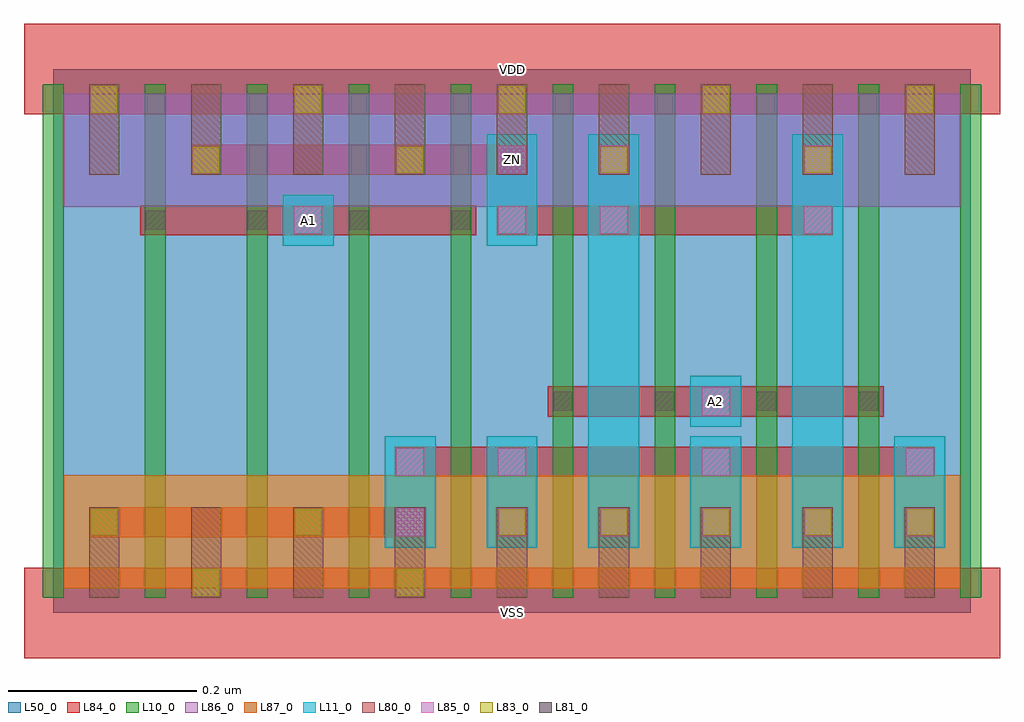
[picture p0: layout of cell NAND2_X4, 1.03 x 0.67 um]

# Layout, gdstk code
import gdstk
lib = gdstk.Library(unit=1e-6, precision=1e-09)
def R(c, l, rs):  # rectangles x0, y0, x1, y1
    for r in rs: c.add(gdstk.rectangle(r[:2], r[2:], *l))
def A(c, l, x, y, w, h, nx, ny, dx, dy):  # array of equal rectangles
    R(c, l, [(x+i*dx, y+j*dy, x+i*dx+w, y+j*dy+h) for i in range(nx) for j in range(ny)])
L10_0 = (10, 0)
L11_0 = (11, 0)
L50_0 = (50, 0)
L80_0 = (80, 0)
L81_0 = (81, 0)
L83_0 = (83, 0)
L84_0 = (84, 0)
L85_0 = (85, 0)
L86_0 = (86, 0)
L87_0 = (87, 0)

nand2_x4 = lib.new_cell('NAND2_X4')
A(nand2_x4, L10_0, -0.011, 0.016, 0.022, 0.544, 10, 1, 0.108, 0)
A(nand2_x4, L11_0, 0.459, 0.069, 0.054, 0.118, 3, 1, 0.216, 0)
R(nand2_x4, L11_0, [(0.351,0.069,0.405,0.187), (0.567,0.069,0.621,0.507), (0.783,0.069,0.837,0.507), (0.675,0.197,0.729,0.251), (0.243,0.389,0.297,0.443), (0.459,0.389,0.513,0.507)])
R(nand2_x4, L50_0, [(0,0,0.972,0.576)])
A(nand2_x4, L80_0, 0.038, 0.016, 0.032, 0.096, 9, 2, 0.108, 0.448)
A(nand2_x4, L81_0, 0.53, 0.214, 0.02, 0.02, 4, 1, 0.108, 0)
A(nand2_x4, L81_0, 0.098, 0.406, 0.02, 0.02, 4, 1, 0.108, 0)
A(nand2_x4, L83_0, 0.04, 0.082, 0.028, 0.028, 3, 1, 0.216, 0)
A(nand2_x4, L83_0, 0.58, 0.082, 0.028, 0.028, 4, 1, 0.108, 0)
A(nand2_x4, L83_0, 0.148, 0.466, 0.028, 0.028, 4, 1, 0.216, 0)
A(nand2_x4, L83_0, 0.04, 0.53, 0.028, 0.028, 5, 1, 0.216, 0)
R(nand2_x4, L83_0, [(0.148,0.018,0.176,0.046), (0.364,0.018,0.392,0.046)])
A(nand2_x4, L84_0, 0.47, 0.08, 0.032, 0.032, 5, 1, 0.108, 0)
R(nand2_x4, L84_0, [(-0.031,-0.048,1.003,0.048), (0.038,0.08,0.394,0.112), (0.362,0.144,0.934,0.176), (0.524,0.208,0.88,0.24), (0.092,0.4,0.448,0.432), (0.47,0.4,0.826,0.432), (0.146,0.464,0.502,0.496), (0.578,0.464,0.61,0.496), (0.794,0.464,0.826,0.496), (-0.031,0.528,1.003,0.624)])
A(nand2_x4, L85_0, 0.363, 0.081, 0.03, 0.03, 6, 1, 0.108, 0)
A(nand2_x4, L85_0, 0.471, 0.145, 0.03, 0.03, 3, 1, 0.216, 0)
R(nand2_x4, L85_0, [(0.363,0.145,0.393,0.175), (0.687,0.209,0.717,0.239), (0.255,0.401,0.285,0.431), (0.471,0.401,0.501,0.431), (0.579,0.401,0.609,0.431), (0.795,0.401,0.825,0.431), (0.471,0.465,0.501,0.495), (0.579,0.465,0.609,0.495), (0.795,0.465,0.825,0.495)])
R(nand2_x4, L86_0, [(0.011,0.43,0.961,0.55)])
R(nand2_x4, L87_0, [(0.011,0.026,0.961,0.146)])
nand2_x4.add(gdstk.Label('VDD', (0.486,0.576), layer=88, texttype=0))
nand2_x4.add(gdstk.Label('VSS', (0.486,0), layer=88, texttype=0))
nand2_x4.add(gdstk.Label('ZN', (0.486,0.48), layer=31, texttype=0))
nand2_x4.add(gdstk.Label('A1', (0.27,0.416), layer=31, texttype=0))
nand2_x4.add(gdstk.Label('A2', (0.702,0.224), layer=31, texttype=0))

lib.write_gds('NAND2_X4.gds')
